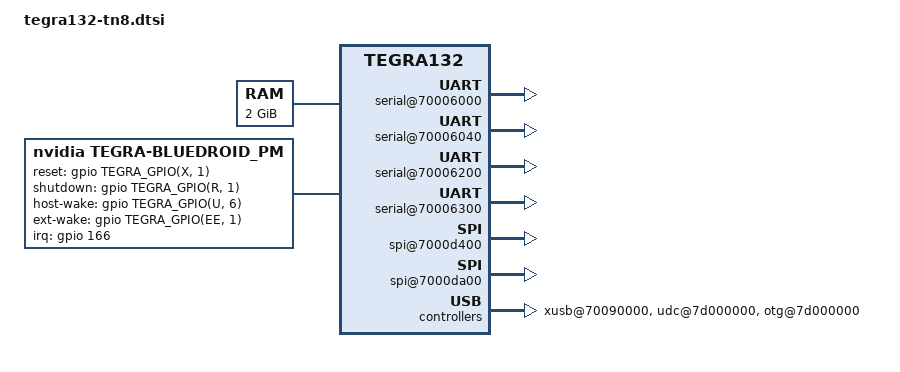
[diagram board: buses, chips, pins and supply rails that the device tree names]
/*
 * arch/arm64/boot/dts/tegra132-tn8.dtsi
 *
 * Copyright (c) 2014-2015, NVIDIA CORPORATION.  All rights reserved.
 *
 * This program is free software; you can redistribute it and/or modify
 * it under the terms of the GNU General Public License as published by
 * the Free Software Foundation; either version 2 of the License, or
 * (at your option) any later version.
 *
 * This program is distributed in the hope that it will be useful, but WITHOUT
 * ANY WARRANTY; without even the implied warranty of MERCHANTABILITY or
 * FITNESS FOR A PARTICULAR PURPOSE.  See the GNU General Public License for
 * more details.
 *
 * You should have received a copy of the GNU General Public License along
 * with this program; if not, write to the Free Software Foundation, Inc.,
 * 51 Franklin Street, Fifth Floor, Boston, MA  02110-1301, USA.
 */

#define TEGRA132_PACKAGE_IS_DSC
#include "tegra132-soc-shield.dtsi"
#include "tegra132-platforms/tegra132-modem-common.dtsi"

/ {
	serial@70006000 {
		compatible = "nvidia,tegra114-hsuart";
		status = "okay";
	};

	serial@70006040 {
		compatible = "nvidia,tegra114-hsuart";
		status = "okay";
	};

	serial@70006200 {
		compatible = "nvidia,tegra114-hsuart";
		status = "okay";
	};

	serial@70006300 {
		compatible = "nvidia,tegra20-uart", "nvidia,tegra114-hsuart";
		console-port;
		sqa-automation-port;
		status = "okay";
	};

	i2c@7000d000 {
		nvidia,bit-banging-xfer-after-shutdown;
	};

	spi@7000d400 {
		status = "okay";
		spi-max-frequency = <25000000>;
	};

	spi@7000da00 {
		status = "okay";
		spi-max-frequency = <25000000>;
	};

	pmc@7000e400 {
		nvidia,invert-interrupt;
	};

	xusb@70090000 {
		/* nvidia,uses_external_pmic;
		nvidia,gpio_controls_muxed_ss_lanes; */
		nvidia,gpio_ss1_sata = <0>;
		nvidia,portmap = <0x101>; /* SSP0, USB2P0 */
		nvidia,ss_portmap = <0x0>; /* SSP0 on USB2P0 */
		nvidia,lane_owner = <4>; /* USB3P0 */
		nvidia,ulpicap = <0>; /* No ulpi support. can we remove */
		status = "okay";
	};

	memory@0x80000000 {
		device_type = "memory";
		reg = <0x0 0x80000000 0x0 0x80000000>;
	};

	udc@7d000000 {
		nvidia,port-otg;
		nvidia,charging-supported;
		nvidia,enable-pmu-vbus-detection;
		nvidia,id-detection-type = <1>;
		nvidia,qc2-input-voltage = <1>;
		nvidia,qc2-current-limit-ma = <1200>;
		nvidia,dcp-current-limit-ma = <1800>;
		extcon-cables = <&palmas_extcon 0 &palmas_extcon 1>;
		extcon-cable-names = "vbus", "id";
		#extcon-cells = <1>;
		avdd_usb-supply = <&ldousb_reg>;
		avdd_pll_utmip-supply = <&palmas_smps8>;
		usb_bat_chg-supply = <&battery_charger>;
		status = "okay";
	};

	otg@7d000000 {
		nvidia,enable-pmu-vbus-detection;
		nvidia,id-detection-type = <1>;
		extcon-cables = <&palmas_extcon 0 &palmas_extcon 1>;
		extcon-cable-names = "vbus", "id";
		#extcon-cells = <1>;
		usb_vbus-supply = <&usb0_vbus>;
		status = "okay";
	};

	psy_extcon {
		compatible = "power-supply-extcon";
		extcon-cables = <&udc 1 &udc 2 &udc 3
				&udc 4 &udc 5 &udc 6
				&udc 7 &udc 8 &udc 9
				&udc 10 &otg 0>;
		extcon-cable-names = "usb-charger", "ta-charger", "maxim-charger",
				"qc2-charger", "downstream-charger","fast-charger",
				"slow-charger", "apple-500ma", "apple-1a",
				"apple-2a", "y-cable";
	};

	bluedroid_pm {
		compatible = "nvidia,tegra-bluedroid_pm";
		id = <0>;
		bluedroid_pm,reset-gpio = <&gpio TEGRA_GPIO(X, 1) 0>;
		bluedroid_pm,shutdown-gpio = <&gpio TEGRA_GPIO(R, 1) 0>;
		bluedroid_pm,host-wake-gpio = <&gpio TEGRA_GPIO(U, 6) 0>;
		bluedroid_pm,ext-wake-gpio = <&gpio TEGRA_GPIO(EE, 1) 0>;
		interrupt-parent = <&gpio>;
		interrupts = <166 0x01>;
	};

	ehci@7d004000 {
		avdd_usb-supply = <&ldousb_reg>;
		avdd_pll_utmip-supply = <&palmas_smps8>;
		vddio_hsic-supply = <&ldo5_reg>;
		status = "disabled";
	};

	therm_est_sensor {
		subdev {
			subdev_names = "Tdiode", "Tboard";

			coeff_set@0 {
				toffset = <708>;
				coeffs = <
					(-1) (-1) 0 (-1) 0 (-1) (-1) 0 0 0 1 1 1 1 2 2 2 2 3 5
					(-3) (-1) 1 1 2 1 2 1 (-1) (-1) 0 2 3 4 5 3 3 4 6 36
				>;
			};
		};
	};

	cpu_edp {
		nvidia,edp_limit = <16800>;
	};

	gpu_edp {
		nvidia,edp_limit = <11200>;
	};

};
